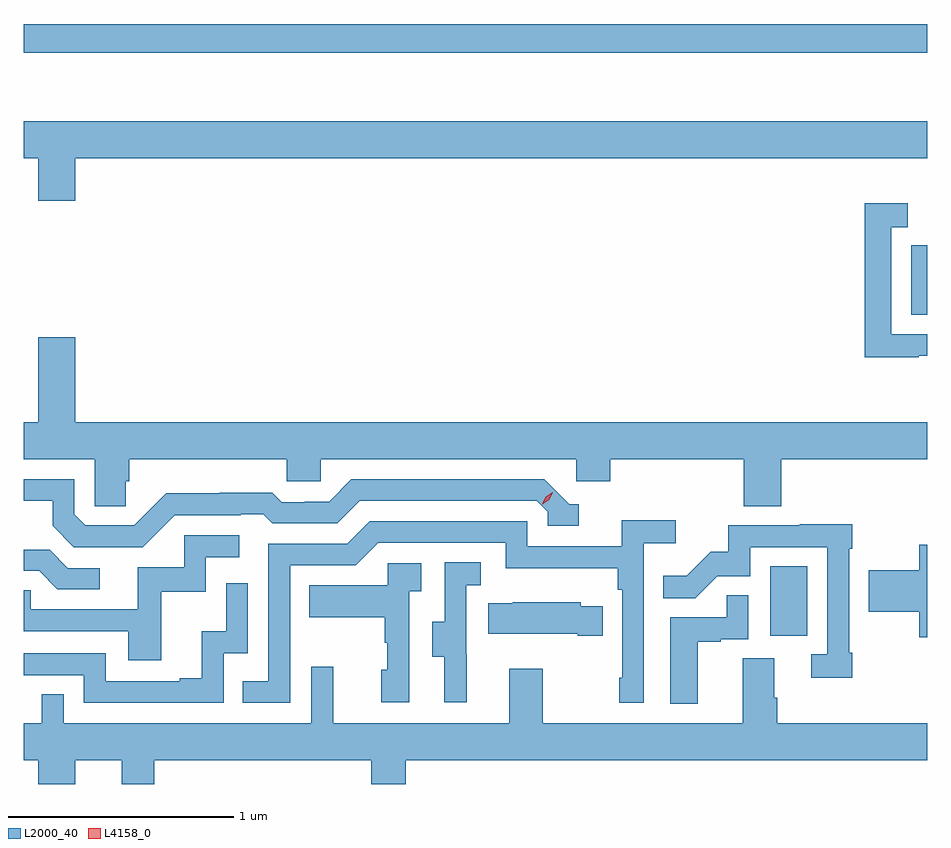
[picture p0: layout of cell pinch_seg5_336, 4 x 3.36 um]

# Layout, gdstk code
import gdstk
lib = gdstk.Library(unit=1e-6, precision=1e-09)
def R(c, l, rs):  # rectangles x0, y0, x1, y1
    for r in rs: c.add(gdstk.rectangle(r[:2], r[2:], *l))
def P(c, l, *ps):  # polygons
    for p in ps: c.add(gdstk.Polygon(p, *l))
L2000_40 = (2000, 40)
L4158_0 = (4158, 0)

pinch_seg5_336 = lib.new_cell('pinch_seg5_336')
R(pinch_seg5_336, L2000_40, [(887.528,886.614,887.692,886.921), (888.152,888.036,888.223,888.343), (884.223,889.194,888.223,889.322)])
P(pinch_seg5_336, L2000_40, [(884.452,888.728),(888.223,888.728),(888.223,888.892),(884.223,888.892),(884.223,888.728),(884.288,888.728),(884.288,888.54),(884.452,888.54)],
  [(888.185,887.853),(888.223,887.853),(888.223,887.949),(888.063,887.949),(888.063,888.423),(888.136,888.423),(888.136,888.529),(887.947,888.529),(887.947,887.848),(888.185,887.848)],
  [(884.288,887.935),(884.288,887.56),(884.223,887.56),(884.223,887.396),(884.538,887.396),(884.538,887.188),(884.675,887.188),(884.675,887.298),(884.69,887.298),(884.69,887.396),(885.387,887.396),(885.387,887.298),(885.537,887.298),(885.537,887.396),(886.668,887.396),(886.668,887.298),(886.82,887.298),(886.82,887.396),(887.411,887.396),(887.411,887.188),(887.576,887.188),(887.576,887.396),(888.223,887.396),(888.223,887.56),(884.452,887.56),(884.452,887.935)],
  [(884.892,887.148),(885.185,887.148),(885.185,887.151),(885.284,887.151),(885.323,887.112),(885.612,887.112),(885.711,887.211),(886.494,887.211),(886.542,887.163),(886.542,887.1),(886.681,887.1),(886.681,887.196),(886.638,887.196),(886.527,887.307),(885.674,887.307),(885.575,887.208),(885.468,887.208),(885.468,887.205),(885.365,887.205),(885.323,887.248),(885.09,887.248),(885.09,887.245),(884.854,887.245),(884.712,887.103),(884.496,887.103),(884.448,887.151),(884.448,887.307),(884.223,887.307),(884.223,887.211),(884.351,887.211),(884.351,887.101),(884.445,887.007),(884.751,887.007)],
  [(885.402,886.926),(885.693,886.926),(885.792,887.025),(886.356,887.025),(886.356,886.913),(886.852,886.913),(886.852,886.817),(886.872,886.817),(886.872,886.429),(886.86,886.429),(886.86,886.317),(886.968,886.317),(886.968,887.024),(887.11,887.024),(887.11,887.126),(886.871,887.126),(886.871,887.01),(886.452,887.01),(886.452,887.121),(885.755,887.121),(885.656,887.022),(885.306,887.022),(885.306,886.413),(885.193,886.413),(885.193,886.317),(885.402,886.317)],
  [(887.89,886.54),(887.877,886.54),(887.877,887),(887.89,887),(887.89,887.108),(887.659,887.108),(887.659,887.103),(887.341,887.103),(887.341,886.986),(887.264,886.986),(887.157,886.879),(887.053,886.879),(887.053,886.78),(887.196,886.78),(887.294,886.878),(887.439,886.878),(887.439,887.007),(887.781,887.007),(887.781,886.533),(887.709,886.533),(887.709,886.428),(887.89,886.428)],
  [(884.831,886.809),(885.03,886.809),(885.03,886.962),(885.178,886.962),(885.178,887.058),(884.934,887.058),(884.934,886.917),(884.729,886.917),(884.729,886.731),(884.255,886.731),(884.255,886.815),(884.223,886.815),(884.223,886.635),(884.687,886.635),(884.687,886.506),(884.831,886.506)],
  [(888.223,887.017),(888.188,887.017),(888.188,886.904),(887.964,886.904),(887.964,886.721),(888.188,886.721),(888.188,886.607),(888.223,886.607)],
  [(884.56,886.914),(884.418,886.914),(884.338,886.994),(884.223,886.994),(884.223,886.902),(884.291,886.902),(884.372,886.821),(884.56,886.821)],
  [(886.184,886.533),(886.182,886.533),(886.182,886.837),(886.246,886.837),(886.246,886.94),(886.086,886.94),(886.086,886.677),(886.031,886.677),(886.031,886.522),(886.085,886.522),(886.085,886.32),(886.184,886.32)],
  [(885.93,886.811),(885.982,886.811),(885.982,886.935),(885.834,886.935),(885.834,886.837),(885.487,886.837),(885.487,886.697),(885.822,886.697),(885.822,886.583),(885.832,886.583),(885.832,886.464),(885.806,886.464),(885.806,886.32),(885.93,886.32)],
  [(885.108,886.536),(885.216,886.536),(885.216,886.846),(885.12,886.846),(885.12,886.634),(885.011,886.634),(885.011,886.426),(884.915,886.426),(884.915,886.413),(884.586,886.413),(884.586,886.536),(884.223,886.536),(884.223,886.44),(884.49,886.44),(884.49,886.317),(885.108,886.317)],
  [(887.206,886.587),(887.309,886.587),(887.309,886.599),(887.43,886.599),(887.43,886.793),(887.335,886.793),(887.335,886.695),(887.084,886.695),(887.084,886.313),(887.206,886.313)],
  [(886.787,886.744),(886.689,886.744),(886.689,886.762),(886.387,886.762),(886.387,886.759),(886.279,886.759),(886.279,886.622),(886.676,886.622),(886.676,886.615),(886.787,886.615)],
  [(884.452,886.064),(884.657,886.064),(884.657,885.958),(884.801,885.958),(884.801,886.064),(885.761,886.064),(885.761,885.958),(885.914,885.958),(885.914,886.064),(888.223,886.064),(888.223,886.228),(887.558,886.228),(887.558,886.34),(887.545,886.34),(887.545,886.514),(887.405,886.514),(887.405,886.228),(886.521,886.228),(886.521,886.468),(886.373,886.468),(886.373,886.228),(885.593,886.228),(885.593,886.477),(885.495,886.477),(885.495,886.228),(884.4,886.228),(884.4,886.355),(884.304,886.355),(884.304,886.228),(884.223,886.228),(884.223,886.064),(884.288,886.064),(884.288,885.958),(884.452,885.958)])
P(pinch_seg5_336, L4158_0, [(886.518,887.197),(886.518,887.197),(886.534,887.23),(886.564,887.25),(886.564,887.25),(886.564,887.249),(886.549,887.217),(886.518,887.197)])

lib.write_gds('pinch_seg5_336.gds')
